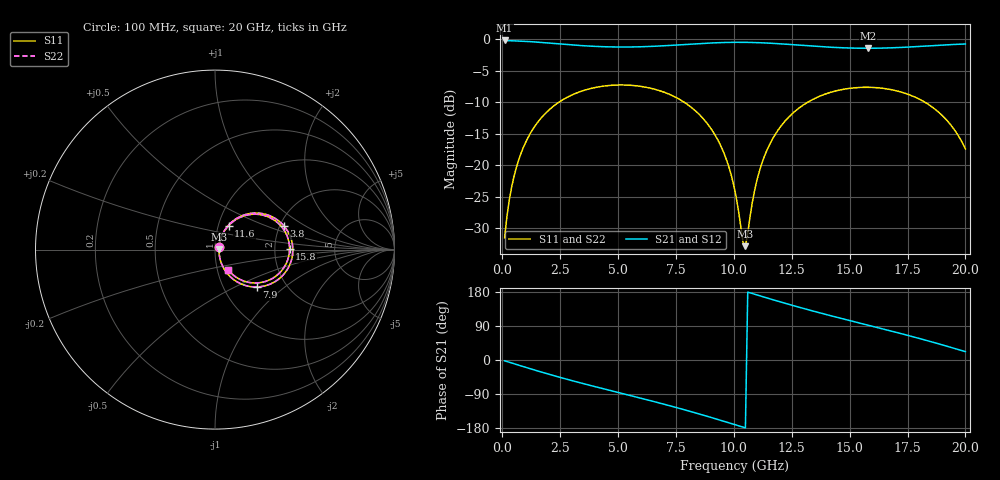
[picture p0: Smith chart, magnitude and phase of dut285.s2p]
! Touchstone file exported from HFSS 2026.1.0
!  File:  C:/ffzhzh/LocalFiles/Ansys_Project_Files/temp_train_TSV_RDL_285_1783086389_33488.aedt
!  Generated:  10:08:31 PM Jul  3, 2026
!  Design:  TSV_RDL
!  Project:  temp_train_TSV_RDL_285_1783086389_33488
! Variables:
!  h_bsmrdl = 5.68um
!  h_ox = 20um
!  h_rdl = 5um
!  h_sub = 51.68um
!  h_tmrdl = 5.36um
!  h_tsv = 51.68um
!  h_via = 3um
!  l_bsmrdl = 694.94um
!  l_sub = 6129.27um
!  l_tmrdl = 870.2um
!  m_sub = 200um
!  pitch = 46.36um
!  r_tsv = 2.69um
!  s_tmrdl = 10um
!  w_bsmrdl = 28.35um
!  w_sub = 500um
!  w_tmrdl = 26.2um
!  x_tsv_center1 = 883.3um
!  x_tsv_center2 = 1606.59um
!  x_tsv_center3 = 2502.99um
!  x_tsv_center4 = 3226.28um
!  x_tsv_center5 = 4122.68um
!  x_tsv_center6 = 4845.97um
# GHz S MA R 50.000000
! Terminal data exported
! Port[1] = TM_RDL1_1_T1
! Port[2] = TM_RDL5_1_T1
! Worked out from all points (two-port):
!   200 points, 100 MHz to 20 GHz, reference 50 ohm
!   highest |S21| = -0.18 dB at 100 MHz (marker M1); lowest = -1.4 dB at 15.8 GHz (marker M2)
!   |S21| within 3 dB of the highest: start of sweep to end of sweep
!   lowest |S11| = -32.9 dB at 10.5 GHz (marker M3), VSWR 1.05, Z = 52.3 + j0.389 ohm
!   |S11| at or under -10 dB: start of sweep to 2.443 GHz; 7.856 GHz to 13.19 GHz (5.332 GHz wide, 50.7 % of centre); 18.25 GHz to end of sweep
!   |S22| runs from -32.8 to -7.3 dB; largest |S21 - S12| = 1.7e-14
!   S11 on the Smith chart (normalised r, x): 100 MHz: 1.04, +0.03; 3.8 GHz: 2.10, +0.67; 7.9 GHz: 1.43, -0.66; 11.6 GHz: 1.12, +0.30; 15.8 GHz: 2.42, +0.01; 20 GHz: 1.13, -0.26
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0.1  0.02647 38.2  0.9796 -2.0  0.9796 -2.0  0.02647 38.2
! Gamma 0 0 0 0
! Port Impedance 50 0 50 0
0.3  0.05258 58.9  0.9765 -5.9  0.9765 -5.9  0.05258 58.9
0.5  0.08049 63.5  0.9738 -9.7  0.9738 -9.7  0.08049 63.5
1.1  0.1641 60.2  0.9617 -21.0  0.9617 -21.0  0.1641 60.2
2.1  0.2833 45.4  0.9312 -39.1  0.9312 -39.1  0.2833 45.4
3.5  0.3915 23.6  0.8894 -62.3  0.8894 -62.3  0.3915 23.6
3.8  0.4057 19.1  0.8829 -67.1  0.8829 -67.1  0.4057 19.1
5.3  0.4334 -3.0  0.8686 -90.2  0.8686 -90.2  0.4334 -2.9
6.8  0.3903 -25.1  0.8851 -113.7  0.8851 -113.7  0.3903 -25.1
7.9  0.3124 -41.8  0.9102 -131.9  0.9102 -131.9  0.3124 -41.8
9.3  0.1596 -61.9  0.9402 -156.7  0.9402 -156.7  0.1596 -61.9
9.8  0.09478 -65.3  0.9457 -166.0  0.9457 -166.0  0.09482 -65.2
10.1  0.05573 -60.7  0.9471 -171.6  0.9471 -171.6  0.05579 -60.6
10.4  0.02424 -22.9  0.9469 -177.2  0.9469 -177.2  0.02438 -22.8
10.5  0.02269 9.4  0.9464 -179.0  0.9464 -179.0  0.02285 9.3
11  0.0762 62.5  0.9416 171.7  0.9416 171.7  0.07625 62.3
11.6  0.1527 60.4  0.9308 160.6  0.9308 160.6  0.1527 60.4
13.4  0.3323 35.0  0.8832 129.5  0.8832 129.5  0.3323 35.0
15.8  0.4156 0.2  0.8493 91.8  0.8493 91.8  0.4156 0.1
16.7  0.4011 -12.7  0.8547 77.9  0.8547 77.9  0.4011 -12.8
18.7  0.2774 -41.8  0.8935 45.2  0.8935 45.2  0.2774 -41.9
20  0.1347 -56.9  0.9181 22.0  0.9181 22.0  0.1345 -57.1
